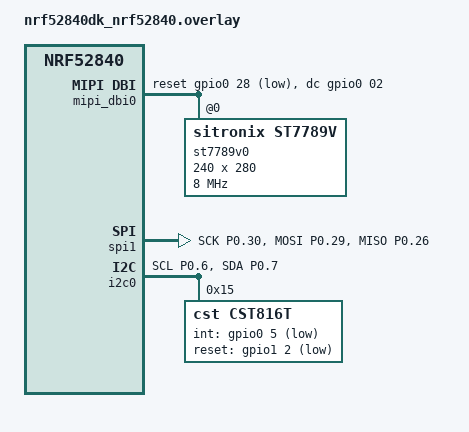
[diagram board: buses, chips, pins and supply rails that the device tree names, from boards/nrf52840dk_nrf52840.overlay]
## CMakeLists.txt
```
#
# Copyright (c) 2018 Nordic Semiconductor
#
# SPDX-License-Identifier: LicenseRef-Nordic-5-Clause
#
cmake_minimum_required(VERSION 3.20.0)

#导入外部模块
set(ZEPHYR_EXTRA_MODULES "../../common")

find_package(Zephyr REQUIRED HINTS $ENV{ZEPHYR_BASE})
project(MY_APP_PRJ)

# NORDIC SDK APP START
target_sources(app PRIVATE
  src/main.c
  src/gui.c
)

add_subdirectory(platform_nrf)
```

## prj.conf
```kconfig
#
# Copyright (c) 2018 Nordic Semiconductor
#
# SPDX-License-Identifier: LicenseRef-Nordic-5-Clause
#

# Enable the UART driver
# CONFIG_UART_ASYNC_API=y
# CONFIG_NRFX_UARTE0=y
# CONFIG_SERIAL=y

CONFIG_GPIO=y

# Make sure printk is printing to the UART console
CONFIG_CONSOLE=y
CONFIG_UART_CONSOLE=y

CONFIG_HEAP_MEM_POOL_SIZE=2048

CONFIG_BT=y
CONFIG_BT_PERIPHERAL=y
#CONFIG_BT_DEVICE_NAME="Nordic_UART_Service"
CONFIG_BT_DEVICE_NAME="lzy_test"
CONFIG_BT_MAX_CONN=1
CONFIG_BT_MAX_PAIRED=1

# Enable the NUS service
CONFIG_BT_NUS=y

# Enable bonding
CONFIG_BT_SETTINGS=y
CONFIG_FLASH=y
CONFIG_FLASH_PAGE_LAYOUT=y
CONFIG_FLASH_MAP=y

# Qingfeng 840 has no nRF52840-DK QSPI flash
CONFIG_NORDIC_QSPI_NOR=n
CONFIG_NRFX_QSPI=n

# Enable DK LED and Buttons library
CONFIG_DK_LIBRARY=y

CONFIG_SYSTEM_WORKQUEUE_STACK_SIZE=2048
# Config logger  日志输出选择RTT或者uart，RTT需要在IDE里打开RTT Viewer，UART则直接在串口工具里查看
CONFIG_LOG=y
CONFIG_USE_SEGGER_RTT=n
CONFIG_LOG_BACKEND_RTT=n
CONFIG_LOG_BACKEND_UART=y
CONFIG_LOG_PRINTK=n

CONFIG_ASSERT=y

# 基础
#CONFIG_LOG=y 上面已经开了
CONFIG_LOG_DEFAULT_LEVEL=3
# SPI + 显示
CONFIG_SPI=y
CONFIG_DISPLAY=y
CONFIG_DISPLAY_LOG_LEVEL_INF=y
CONFIG_ST7789V=y         # 启用 Zephyr 自带 ST7789 驱动
CONFIG_ST7789V_RGB565=y  # ST7789 典型 16-bit RGB565

CONFIG_DISPLAY_LOG_LEVEL_DBG=y

# I2C + 触摸
CONFIG_I2C=y

# LVGL
CONFIG_LVGL=y
CONFIG_APP_LINK_WITH_LVGL=y
CONFIG_LV_Z_AUTO_INIT=y
CONFIG_LV_Z_MEM_POOL_SIZE=16384
CONFIG_MAIN_STACK_SIZE=4096

# Minimal widgets/fonts we use
CONFIG_LV_USE_LOG=n
CONFIG_LV_USE_LABEL=y
# Keep only label for stability test
# CONFIG_LV_USE_BUTTON=y
CONFIG_LV_FONT_MONTSERRAT_14=y
```

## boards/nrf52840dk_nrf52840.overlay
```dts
&pinctrl {
    spi1_default: spi1_default {
        group1 {
            /* Qingfeng 840 P14: OSCK=P0.30, MOSI=P0.29 */
            psels = <NRF_PSEL(SPIM_SCK, 0, 30)>,
                    <NRF_PSEL(SPIM_MOSI, 0, 29)>,
                    <NRF_PSEL(SPIM_MISO, 0, 26)>;
        };
    };
    spi1_sleep: spi1_sleep {
        group1 {
            psels = <NRF_PSEL(SPIM_SCK, 0, 30)>,
                    <NRF_PSEL(SPIM_MOSI, 0, 29)>,
                    <NRF_PSEL(SPIM_MISO, 0, 26)>;
            low-power-enable;
        };
    };

    i2c0_default: i2c0_default {
        group1 {
            /* Qingfeng 840 P14: SCL=P0.06, SDA=P0.07 */
            psels = <NRF_PSEL(TWIM_SCL, 0, 6)>,
                    <NRF_PSEL(TWIM_SDA, 0, 7)>;
        };
    };

    i2c0_sleep: i2c0_sleep {
        group1 {
            psels = <NRF_PSEL(TWIM_SCL, 0, 6)>,
                    <NRF_PSEL(TWIM_SDA, 0, 7)>;
            low-power-enable;
        };
    };
};

my_spi_master: &spi1 {
    status = "okay";
    pinctrl-0 = <&spi1_default>;
    pinctrl-1 = <&spi1_sleep>;
    cs-gpios = <&gpio0 03 GPIO_ACTIVE_LOW>;
};

&gpio0 {
	status = "okay";
	// /* Qingfeng 840 uses P0.19–P0.03 for LCD; not DK QSPI — drop DK reservations */
	// /delete-property/ gpio-reserved-ranges;
};

&gpio1 {
    status = "okay";
};

/* ST7789V2 (SPI) + LVGL display binding */
#include <zephyr/dt-bindings/mipi_dbi/mipi_dbi.h>

/ {
	chosen {
		zephyr,display = &st7789v0;
	};

	mipi_dbi0: mipi_dbi_st7789v2@0 {
		compatible = "zephyr,mipi-dbi-spi";
		spi-dev = <&spi1>;
		/* Qingfeng 840 P14: DC=P0.02, RST=P0.28; keep P0.02/03 for SWD */
		dc-gpios = <&gpio0 02 GPIO_ACTIVE_HIGH>;
		reset-gpios = <&gpio0 28 GPIO_ACTIVE_LOW>;
		write-only;
		reg = <0 1>;
		status = "okay";
		#address-cells = <1>;
		#size-cells = <0>;

		st7789v0: st7789v@0 {
			compatible = "sitronix,st7789v";
			reg = <0>;
			status = "okay";
			mipi-max-frequency = <8000000>;
			width = <240>;
			height = <280>;
			x-offset = <0>;
			y-offset = <20>;
			vcom = <0x19>;
			gctrl = <0x35>;
			vrhs = <0x12>;
			vdvs = <0x20>;
			mdac = <0x00>;
			gamma = <0x01>;
			colmod = <0x05>;
			lcm = <0x2c>;
			porch-param = [0c 0c 00 33 33];
			cmd2en-param = [5a 69 02 01];
			pwctrl1-param = [a4 a1];
			pvgam-param = [D0 04 0D 11 13 2B 3F 54 4C 18 0D 0B 1F 23];
			nvgam-param = [D0 04 0C 11 13 2C 3F 44 51 2F 1F 1F 20 23];
			ram-param = [00 F0];
			rgb-param = [CD 08 14];
			mipi-mode = "MIPI_DBI_MODE_SPI_4WIRE";
			/* Datasheet: CPOL=0, CPHA=0 -> SPI mode 0 */
		};
	};
};

/* CST816T (I2C) touch controller */
&i2c0 {
	status = "okay";
	pinctrl-0 = <&i2c0_default>;
	pinctrl-1 = <&i2c0_sleep>;
	pinctrl-names = "default", "sleep";

	cst816t: cst816t@15 {
		compatible = "cst,cst816t";
		reg = <0x15>;
		int-gpios = <&gpio0 5 GPIO_ACTIVE_LOW>;    /* P0.05, P14 INT */
		reset-gpios = <&gpio1 2 GPIO_ACTIVE_LOW>; /* P1.02, TP_RST flywire */
		status = "okay";
	};
};

/* Qingfeng 840: no DK QSPI MX25R64 */
&qspi {
	status = "disabled";
};

&mx25r64 {
	status = "disabled";
};
```

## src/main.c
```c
/*
 * Copyright (c) 2018 Nordic Semiconductor ASA
 *
 * SPDX-License-Identifier: LicenseRef-Nordic-5-Clause
 */

/** @file
 *  @brief Nordic UART Bridge Service (NUS) sample
 */
#include <uart_async_adapter.h>

#include <zephyr/types.h>
#include <zephyr/kernel.h>
#include <zephyr/drivers/uart.h>
#include <zephyr/usb/usb_device.h>

#include <zephyr/device.h>
#include <zephyr/devicetree.h>
#include <soc.h>

#include <zephyr/bluetooth/bluetooth.h>
#include <zephyr/bluetooth/uuid.h>
#include <zephyr/bluetooth/gatt.h>
#include <zephyr/bluetooth/hci.h>

#include <bluetooth/services/nus.h>

#include <dk_buttons_and_leds.h>

#include <zephyr/settings/settings.h>

#include <stdio.h>
#include <string.h>

#include <zephyr/logging/log.h>

#include <lvgl.h>
#include "gui.h"

#define LOG_MODULE_NAME peripheral_uart
LOG_MODULE_REGISTER(LOG_MODULE_NAME);

#define STACKSIZE CONFIG_BT_NUS_THREAD_STACK_SIZE
#define PRIORITY 7

#define DEVICE_NAME CONFIG_BT_DEVICE_NAME
#define DEVICE_NAME_LEN	(sizeof(DEVICE_NAME) - 1)

#define RUN_STATUS_LED DK_LED1
#define RUN_LED_BLINK_INTERVAL 1000

#define CON_STATUS_LED DK_LED2

#define KEY_PASSKEY_ACCEPT DK_BTN1_MSK
#define KEY_PASSKEY_REJECT DK_BTN2_MSK

#define UART_BUF_SIZE CONFIG_BT_NUS_UART_BUFFER_SIZE
#define UART_WAIT_FOR_BUF_DELAY K_MSEC(50)
#define UART_WAIT_FOR_RX CONFIG_BT_NUS_UART_RX_WAIT_TIME

static K_SEM_DEFINE(ble_init_ok, 0, 1);

static struct bt_conn *current_conn;
static struct bt_conn *auth_conn;
static struct k_work adv_work;

// static const struct device *uart = DEVICE_DT_GET(DT_CHOSEN(nordic_nus_uart));
// static struct k_work_delayable uart_work;

struct uart_data_t {
	void *fifo_reserved;
	uint8_t data[UART_BUF_SIZE];
	uint16_t len;
};

static K_FIFO_DEFINE(fifo_uart_tx_data);
static K_FIFO_DEFINE(fifo_uart_rx_data);

static const struct bt_data ad[] = {
	BT_DATA_BYTES(BT_DATA_FLAGS, (BT_LE_AD_GENERAL | BT_LE_AD_NO_BREDR)),
	BT_DATA(BT_DATA_NAME_COMPLETE, DEVICE_NAME, DEVICE_NAME_LEN),
};

static const struct bt_data sd[] = {
	BT_DATA_BYTES(BT_DATA_UUID128_ALL, BT_UUID_NUS_VAL),
};

#ifdef CONFIG_UART_ASYNC_ADAPTER
UART_ASYNC_ADAPTER_INST_DEFINE(async_adapter);
#else
#define async_adapter NULL
#endif

// static void uart_cb(const struct device *dev, struct uart_event *evt, void *user_data)
// {
// 	ARG_UNUSED(dev);

// 	static size_t aborted_len;
// 	struct uart_data_t *buf;
// 	static uint8_t *aborted_buf;
// 	static bool disable_req;

// 	switch (evt->type) {
// 	case UART_TX_DONE:
// 		LOG_DBG("UART_TX_DONE");
// 		if ((evt->data.tx.len == 0) ||
// 		    (!evt->data.tx.buf)) {
// 			return;
// 		}

// 		if (aborted_buf) {
// 			buf = CONTAINER_OF(aborted_buf, struct uart_data_t,
// 					   data[0]);
// 			aborted_buf = NULL;
// 			aborted_len = 0;
// 		} else {
// 			buf = CONTAINER_OF(evt->data.tx.buf, struct uart_data_t,
// 					   data[0]);
// 		}

// 		k_free(buf);

// 		buf = k_fifo_get(&fifo_uart_tx_data, K_NO_WAIT);
// 		if (!buf) {
// 			return;
// 		}

// 		if (uart_tx(uart, buf->data, buf->len, SYS_FOREVER_MS)) {
// 			LOG_WRN("Failed to send data over UART");
// 		}

// 		break;

// 	case UART_RX_RDY:
// 		LOG_DBG("UART_RX_RDY");
// 		buf = CONTAINER_OF(evt->data.rx.buf, struct uart_data_t, data[0]);
// 		buf->len += evt->data.rx.len;

// 		if (disable_req) {
// 			return;
// 		}

// 		if ((evt->data.rx.buf[buf->len - 1] == '\n') ||
// 		    (evt->data.rx.buf[buf->len - 1] == '\r')) {
// 			disable_req = true;
// 			uart_rx_disable(uart);
// 		}

// 		break;

// 	case UART_RX_DISABLED:
// 		LOG_DBG("UART_RX_DISABLED");
// 		disable_req = false;

// 		buf = k_malloc(sizeof(*buf));
// 		if (buf) {
// 			buf->len = 0;
// 		} else {
// 			LOG_WRN("Not able to allocate UART receive buffer");
// 			k_work_reschedule(&uart_work, UART_WAIT_FOR_BUF_DELAY);
// 			return;
// 		}

// 		uart_rx_enable(uart, buf->data, sizeof(buf->data),
// 			       UART_WAIT_FOR_RX);

// 		break;

// 	case UART_RX_BUF_REQUEST:
// 		LOG_DBG("UART_RX_BUF_REQUEST");
// 		buf = k_malloc(sizeof(*buf));
// 		if (buf) {
// 			buf->len = 0;
// 			uart_rx_buf_rsp(uart, buf->data, sizeof(buf->data));
// 		} else {
// 			LOG_WRN("Not able to allocate UART receive buffer");
// 		}

// 		break;

// 	case UART_RX_BUF_RELEASED:
// 		LOG_DBG("UART_RX_BUF_RELEASED");
// 		buf = CONTAINER_OF(evt->data.rx_buf.buf, struct uart_data_t,
// 				   data[0]);

// 		if (buf->len > 0) {
// 			k_fifo_put(&fifo_uart_rx_data, buf);
// 		} else {
// 			k_free(buf);
// 		}

// 		break;

// 	case UART_TX_ABORTED:
// 		LOG_DBG("UART_TX_ABORTED");
// 		if (!aborted_buf) {
// 			aborted_buf = (uint8_t *)evt->data.tx.buf;
// 		}

// 		aborted_len += evt->data.tx.len;
// 		buf = CONTAINER_OF((void *)aborted_buf, struct uart_data_t,
// 				   data);

// 		uart_tx(uart, &buf->data[aborted_len],
// 			buf->len - aborted_len, SYS_FOREVER_MS);

// 		break;

// 	default:
// 		break;
// 	}
// }

// static void uart_work_handler(struct k_work *item)
// {
// 	struct uart_data_t *buf;

// 	buf = k_malloc(sizeof(*buf));
// 	if (buf) {
// 		buf->len = 0;
// 	} else {
// 		LOG_WRN("Not able to allocate UART receive buffer");
// 		k_work_reschedule(&uart_work, UART_WAIT_FOR_BUF_DELAY);
// 		return;
// 	}

// 	uart_rx_enable(uart, buf->data, sizeof(buf->data), UART_WAIT_FOR_RX);
// }

// static bool uart_test_async_api(const struct device *dev)
// {
// 	const struct uart_driver_api *api =
// 			(const struct uart_driver_api *)dev->api;

// 	return (api->callback_set != NULL);
// }

// static int uart_init(void)
// {
// 	int err;
// 	int pos;
// 	struct uart_data_t *rx;
// 	struct uart_data_t *tx;

// 	if (!device_is_ready(uart)) {
// 		return -ENODEV;
// 	}

// 	if (IS_ENABLED(CONFIG_USB_DEVICE_STACK)) {
// 		err = usb_enable(NULL);
// 		if (err && (err != -EALREADY)) {
// 			LOG_ERR("Failed to enable USB");
// 			return err;
// 		}
// 	}

// 	rx = k_malloc(sizeof(*rx));
// 	if (rx) {
// 		rx->len = 0;
// 	} else {
// 		return -ENOMEM;
// 	}

// 	// k_work_init_delayable(&uart_work, uart_work_handler);


// 	if (IS_ENABLED(CONFIG_UART_ASYNC_ADAPTER) && !uart_test_async_api(uart)) {
// 		/* Implement API adapter */
// 		uart_async_adapter_init(async_adapter, uart);
// 		uart = async_adapter;
// 	}

// 	err = uart_callback_set(uart, uart_cb, NULL);
// 	if (err) {
// 		k_free(rx);
// 		LOG_ERR("Cannot initialize UART callback");
// 		return err;
// 	}

// 	if (IS_ENABLED(CONFIG_UART_LINE_CTRL)) {
// 		LOG_INF("Wait for DTR");
// 		while (true) {
// 			uint32_t dtr = 0;

// 			uart_line_ctrl_get(uart, UART_LINE_CTRL_DTR, &dtr);
// 			if (dtr) {
// 				break;
// 			}
// 			/* Give CPU resources to low priority threads. */
// 			k_sleep(K_MSEC(100));
// 		}
// 		LOG_INF("DTR set");
// 		err = uart_line_ctrl_set(uart, UART_LINE_CTRL_DCD, 1);
// 		if (err) {
// 			LOG_WRN("Failed to set DCD, ret code %d", err);
// 		}
// 		err = uart_line_ctrl_set(uart, UART_LINE_CTRL_DSR, 1);
// 		if (err) {
// 			LOG_WRN("Failed to set DSR, ret code %d", err);
// 		}
// 	}

// 	tx = k_malloc(sizeof(*tx));

// 	if (tx) {
// 		pos = snprintf(tx->data, sizeof(tx->data),
// 			       "Starting Nordic UART service sample\r\n");

// 		if ((pos < 0) || (pos >= sizeof(tx->data))) {
// 			k_free(rx);
// 			k_free(tx);
// 			LOG_ERR("snprintf returned %d", pos);
// 			return -ENOMEM;
// 		}

// 		tx->len = pos;
// 	} else {
// 		k_free(rx);
// 		return -ENOMEM;
// 	}

// 	err = uart_tx(uart, tx->data, tx->len, SYS_FOREVER_MS);
// 	if (err) {
// 		k_free(rx);
// 		k_free(tx);
// 		LOG_ERR("Cannot display welcome message (err: %d)", err);
// 		return err;
// 	}

// 	err = uart_rx_enable(uart, rx->data, sizeof(rx->data), UART_WAIT_FOR_RX);
// 	if (err) {
// 		LOG_ERR("Cannot enable uart reception (err: %d)", err);
// 		/* Free the rx buffer only because the tx buffer will be handled in the callback */
// 		k_free(rx);
// 	}

// 	return err;
// }

static void adv_work_handler(struct k_work *work)
{
	int err = bt_le_adv_start(BT_LE_ADV_CONN_FAST_2, ad, ARRAY_SIZE(ad), sd, ARRAY_SIZE(sd));

	if (err) {
		LOG_ERR("Advertising failed to start (err %d)", err);
		return;
	}

	LOG_INF("Advertising successfully started");
}

static void advertising_start(void)
{
	k_work_submit(&adv_work);
}

static void connected(struct bt_conn *conn, uint8_t err)
{
	char addr[BT_ADDR_LE_STR_LEN];

	if (err) {
		LOG_ERR("Connection failed, err 0x%02x %s", err, bt_hci_err_to_str(err));
		return;
	}

	bt_addr_le_to_str(bt_conn_get_dst(conn), addr, sizeof(addr));
	LOG_INF("Connected %s", addr);

	current_conn = bt_conn_ref(conn);

	dk_set_led_on(CON_STATUS_LED);
}

static void disconnected(struct bt_conn *conn, uint8_t reason)
{
	char addr[BT_ADDR_LE_STR_LEN];

	bt_addr_le_to_str(bt_conn_get_dst(conn), addr, sizeof(addr));

	LOG_INF("Disconnected: %s, reason 0x%02x %s", addr, reason, bt_hci_err_to_str(reason));

	if (auth_conn) {
		bt_conn_unref(auth_conn);
		auth_conn = NULL;
	}

	if (current_conn) {
		bt_conn_unref(current_conn);
		current_conn = NULL;
		dk_set_led_off(CON_STATUS_LED);
	}
}

static void recycled_cb(void)
{
	LOG_INF("Connection object available from previous conn. Disconnect is complete!");
	advertising_start();
}

#ifdef CONFIG_BT_NUS_SECURITY_ENABLED
static void security_changed(struct bt_conn *conn, bt_security_t level,
			     enum bt_security_err err)
{
	char addr[BT_ADDR_LE_STR_LEN];

	bt_addr_le_to_str(bt_conn_get_dst(conn), addr, sizeof(addr));

	if (!err) {
		LOG_INF("Security changed: %s level %u", addr, level);
	} else {
		LOG_WRN("Security failed: %s level %u err %d %s", addr, level, err,
			bt_security_err_to_str(err));
	}
}
#endif

BT_CONN_CB_DEFINE(conn_callbacks) = {
	.connected        = connected,
	.disconnected     = disconnected,
	.recycled         = recycled_cb,
#ifdef CONFIG_BT_NUS_SECURITY_ENABLED
	.security_changed = security_changed,
#endif
};

#if defined(CONFIG_BT_NUS_SECURITY_ENABLED)
static void auth_passkey_display(struct bt_conn *conn, unsigned int passkey)
{
	char addr[BT_ADDR_LE_STR_LEN];

	bt_addr_le_to_str(bt_conn_get_dst(conn), addr, sizeof(addr));

	LOG_INF("Passkey for %s: %06u", addr, passkey);
}

static void auth_passkey_confirm(struct bt_conn *conn, unsigned int passkey)
{
	char addr[BT_ADDR_LE_STR_LEN];

	auth_conn = bt_conn_ref(conn);

	bt_addr_le_to_str(bt_conn_get_dst(conn), addr, sizeof(addr));

	LOG_INF("Passkey for %s: %06u", addr, passkey);

	if (IS_ENABLED(CONFIG_SOC_SERIES_NRF54HX) || IS_ENABLED(CONFIG_SOC_SERIES_NRF54LX)) {
		LOG_INF("Press Button 0 to confirm, Button 1 to reject.");
	} else {
		LOG_INF("Press Button 1 to confirm, Button 2 to reject.");
	}
}


static void auth_cancel(struct bt_conn *conn)
{
	char addr[BT_ADDR_LE_STR_LEN];

	bt_addr_le_to_str(bt_conn_get_dst(conn), addr, sizeof(addr));

	LOG_INF("Pairing cancelled: %s", addr);
}


static void pairing_complete(struct bt_conn *conn, bool bonded)
{
	char addr[BT_ADDR_LE_STR_LEN];

	bt_addr_le_to_str(bt_conn_get_dst(conn), addr, sizeof(addr));

	LOG_INF("Pairing completed: %s, bonded: %d", addr, bonded);
}


static void pairing_failed(struct bt_conn *conn, enum bt_security_err reason)
{
	char addr[BT_ADDR_LE_STR_LEN];

	bt_addr_le_to_str(bt_conn_get_dst(conn), addr, sizeof(addr));

	LOG_INF("Pairing failed conn: %s, reason %d %s", addr, reason,
		bt_security_err_to_str(reason));
}

static struct bt_conn_auth_cb conn_auth_callbacks = {
	.passkey_display = auth_passkey_display,
	.passkey_confirm = auth_passkey_confirm,
	.cancel = auth_cancel,
};

static struct bt_conn_auth_info_cb conn_auth_info_callbacks = {
	.pairing_complete = pairing_complete,
	.pairing_failed = pairing_failed
};
#else
static struct bt_conn_auth_cb conn_auth_callbacks;
static struct bt_conn_auth_info_cb conn_auth_info_callbacks;
#endif

// static void bt_receive_cb(struct bt_conn *conn, const uint8_t *const data,
// 			  uint16_t len)
// {
// 	int err;
// 	char addr[BT_ADDR_LE_STR_LEN] = {0};

// 	bt_addr_le_to_str(bt_conn_get_dst(conn), addr, ARRAY_SIZE(addr));

// 	LOG_INF("Received data from: %s", addr);

// 	for (uint16_t pos = 0; pos != len;) {
// 		struct uart_data_t *tx = k_malloc(sizeof(*tx));

// 		if (!tx) {
// 			LOG_WRN("Not able to allocate UART send data buffer");
// 			return;
// 		}

// 		/* Keep the last byte of TX buffer for potential LF char. */
// 		size_t tx_data_size = sizeof(tx->data) - 1;

// 		if ((len - pos) > tx_data_size) {
// 			tx->len = tx_data_size;
// 		} else {
// 			tx->len = (len - pos);
// 		}

// 		memcpy(tx->data, &data[pos], tx->len);

// 		pos += tx->len;

// 		/* Append the LF character when the CR character triggered
// 		 * transmission from the peer.
// 		 */
// 		if ((pos == len) && (data[len - 1] == '\r')) {
// 			tx->data[tx->len] = '\n';
// 			tx->len++;
// 		}

// 		err = uart_tx(uart, tx->data, tx->len, SYS_FOREVER_MS);
// 		if (err) {
// 			k_fifo_put(&fifo_uart_tx_data, tx);
// 		}
// 	}
// }

// static struct bt_nus_cb nus_cb = {
// 	.received = bt_receive_cb,
// };

void error(void)
{
	dk_set_leds_state(DK_ALL_LEDS_MSK, DK_NO_LEDS_MSK);

	while (true) {
		/* Spin for ever */
		k_sleep(K_MSEC(1000));
	}
}

#ifdef CONFIG_BT_NUS_SECURITY_ENABLED
static void num_comp_reply(bool accept)
{
	if (accept) {
		bt_conn_auth_passkey_confirm(auth_conn);
		LOG_INF("Numeric Match, conn %p", (void *)auth_conn);
	} else {
		bt_conn_auth_cancel(auth_conn);
		LOG_INF("Numeric Reject, conn %p", (void *)auth_conn);
	}

	bt_conn_unref(auth_conn);
	auth_conn = NULL;
}

void button_changed(uint32_t button_state, uint32_t has_changed)
{
	uint32_t buttons = button_state & has_changed;

	if (auth_conn) {
		if (buttons & KEY_PASSKEY_ACCEPT) {
			num_comp_reply(true);
		}

		if (buttons & KEY_PASSKEY_REJECT) {
			num_comp_reply(false);
		}
	}
}
#endif /* CONFIG_BT_NUS_SECURITY_ENABLED */

// static void configure_gpio(void)
// {
// 	int err;

// #ifdef CONFIG_BT_NUS_SECURITY_ENABLED
// 	err = dk_buttons_init(button_changed);
// 	if (err) {
// 		LOG_ERR("Cannot init buttons (err: %d)", err);
// 	}
// #endif /* CONFIG_BT_NUS_SECURITY_ENABLED */

// 	err = dk_leds_init();
// 	if (err) {
// 		LOG_ERR("Cannot init LEDs (err: %d)", err);
// 	}
// }

int main(void)
{
	int blink_status = 0;
	int err = 0;


	// configure_gpio();

	// err = uart_init();
	// if (err) {
	// 	error();
	// }
	if (IS_ENABLED(CONFIG_BT_NUS_SECURITY_ENABLED)) {
		err = bt_conn_auth_cb_register(&conn_auth_callbacks);
		if (err) {
			LOG_ERR("Failed to register authorization callbacks. (err: %d)", err);
			return 0;
		}

		err = bt_conn_auth_info_cb_register(&conn_auth_info_callbacks);
		if (err) {
			LOG_ERR("Failed to register authorization info callbacks. (err: %d)", err);
			return 0;
		}
	}

	err = bt_enable(NULL);
	if (err) {
		error();
	}

	LOG_INF("Bluetooth initialized");

	k_sem_give(&ble_init_ok);

	if (IS_ENABLED(CONFIG_SETTINGS)) {
		settings_load();
	}

	// err = bt_nus_init(&nus_cb);
	// if (err) {
	// 	LOG_ERR("Failed to initialize UART service (err: %d)", err);
	// 	return 0;
	// }

	k_work_init(&adv_work, adv_work_handler);
	LOG_INF("ble name is %s", DEVICE_NAME);
	advertising_start();
	//k_sleep(K_MSEC(2000));
	gui_init();

	for (;;) {
		// dk_set_led(RUN_STATUS_LED, (++blink_status) % 2);
		//lv_timer_handler();
		k_sleep(K_MSEC(10));
	}
}

// void ble_write_thread(void)
// {
// 	/* Don't go any further until BLE is initialized */
// 	k_sem_take(&ble_init_ok, K_FOREVER);
// 	struct uart_data_t nus_data = {
// 		.len = 0,
// 	};
	
// 	for (;;) {
// 		/* Wait indefinitely for data to be sent over bluetooth */
// 		struct uart_data_t *buf = k_fifo_get(&fifo_uart_rx_data,
// 						     K_FOREVER);

// 		int plen = MIN(sizeof(nus_data.data) - nus_data.len, buf->len);
// 		int loc = 0;

// 		while (plen > 0) {
// 			memcpy(&nus_data.data[nus_data.len], &buf->data[loc], plen);
// 			nus_data.len += plen;
// 			loc += plen;

// 			if (nus_data.len >= sizeof(nus_data.data) ||
// 			   (nus_data.data[nus_data.len - 1] == '\n') ||
// 			   (nus_data.data[nus_data.len - 1] == '\r')) {
// 				if (bt_nus_send(NULL, nus_data.data, nus_data.len)) {
// 					LOG_WRN("Failed to send data over BLE connection");
// 				}
// 				nus_data.len = 0;
// 			}

// 			plen = MIN(sizeof(nus_data.data), buf->len - loc);
// 		}

// 		k_free(buf);
// 	}
// }

// K_THREAD_DEFINE(ble_write_thread_id, STACKSIZE, ble_write_thread, NULL, NULL,
// 		NULL, PRIORITY, 0, 0);
```

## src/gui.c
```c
#include <zephyr/device.h>
#include <zephyr/drivers/i2c.h>
#include <zephyr/drivers/gpio.h>
#include <zephyr/drivers/display.h>
#include <zephyr/devicetree.h>
#include <zephyr/kernel.h>
#include <zephyr/logging/log.h>

#include <lvgl.h>
#include "gui.h"

LOG_MODULE_REGISTER(gui, LOG_LEVEL_INF);

/* Touch (CST816T) is currently not wired into LVGL input to keep this bring-up stable.
 * We'll add it after the display is proven working.
 */

static void ui_create(void)
{
	lv_obj_t *label = lv_label_create(lv_scr_act());
	lv_label_set_text(label, "Hello ST7789V2 + LVGL");
	lv_obj_center(label);
}

static void display_smoke_test(const struct device *display_dev)
{
	struct display_capabilities caps;
	display_get_capabilities(display_dev, &caps);
	LOG_INF("display caps: %ux%u pixel_format=%d", caps.x_resolution, caps.y_resolution,
		caps.current_pixel_format);

	/* ST7789V2 typically uses RGB565 in this project. */
	if (caps.current_pixel_format != PIXEL_FORMAT_RGB_565 &&
	    caps.current_pixel_format != PIXEL_FORMAT_BGR_565) {
		LOG_WRN("display_smoke_test: unsupported pixel format for RGB565 test");
		return;
	}
	LOG_INF("display pixel format: %s",
		(caps.current_pixel_format == PIXEL_FORMAT_RGB_565) ? "RGB565" : "BGR565");

	/* Now uses RGB565_GREEN from gui.h (already byte-swapped for wire order). */
	const uint16_t test_color = RGB565_YELLOW;
	static uint16_t buf[60 * 60];
	for (size_t i = 0; i < ARRAY_SIZE(buf); i++) {
		buf[i] = test_color;
	}

	int ret = display_set_pixel_format(display_dev, caps.current_pixel_format);
	LOG_INF("display_set_pixel_format ret=%d", ret);

	struct display_buffer_descriptor desc = {
		.buf_size = sizeof(buf),
		.width = 60,
		.height = 60,
		.pitch = 60,
		.frame_incomplete = false,
	};

	/* Draw multiple corners + center to catch x/y-offset or margin mistakes. */
	const uint16_t xs[] = {0, (caps.x_resolution > desc.width) ? (caps.x_resolution - desc.width) : 0};
	const uint16_t ys[] = {0, (caps.y_resolution > desc.height) ? (caps.y_resolution - desc.height) : 0};
	for (size_t yi = 0; yi < ARRAY_SIZE(ys); yi++) {
		for (size_t xi = 0; xi < ARRAY_SIZE(xs); xi++) {
			ret = display_write(display_dev, xs[xi], ys[yi], &desc, buf);
			LOG_INF("display_write(%u,%u) ret=%d", xs[xi], ys[yi], ret);
		}
	}

	/* Center patch as well. */
	ret = display_write(display_dev, (caps.x_resolution - desc.width) / 2,
			     (caps.y_resolution - desc.height) / 2, &desc, buf);
	LOG_INF("display_write(center) ret=%d", ret);
}


static void display_color_bars(const struct device *display_dev)
{
	struct display_capabilities caps;
	display_get_capabilities(display_dev, &caps);
	uint16_t w = caps.x_resolution;
	uint16_t h = caps.y_resolution;

	static const uint16_t colors[] = {
		RGB565_RED,
		RGB565_GREEN,
		RGB565_BLUE,
		RGB565_YELLOW,
		RGB565_CYAN,
		RGB565_MAGENTA,
		RGB565_WHITE,
		RGB565_GRAY,
		RGB565_BLACK,
	};

	uint16_t bar_h = h / 9;
	uint16_t extra = h - bar_h * 9;
	uint16_t buf[240];
	uint16_t y = 0;

	struct display_buffer_descriptor desc = {
		.buf_size = sizeof(buf),
		.width = w,
		.height = 1,
		.pitch = w,
		.frame_incomplete = false,
	};

	for (size_t b = 0; b < 9; b++) {
		for (size_t i = 0; i < w; i++) {
			buf[i] = colors[b];
		}
		uint16_t rows = bar_h + (b == 8 ? extra : 0);
		for (uint16_t r = 0; r < rows; r++) {
			display_write(display_dev, 0, y++, &desc, buf);
		}
	}

	LOG_INF("color bars done (%u rows)", y);
}

static void display_clear(const struct device *display_dev, uint16_t color)
{
	struct display_capabilities caps;
	display_get_capabilities(display_dev, &caps);

	uint16_t buf[240];
	for (size_t i = 0; i < ARRAY_SIZE(buf); i++) {
		buf[i] = color;
	}

	struct display_buffer_descriptor desc = {
		.buf_size = sizeof(buf),
		.width = caps.x_resolution,
		.height = 1,
		.pitch = caps.x_resolution,
		.frame_incomplete = false,
	};

	for (uint16_t y = 0; y < caps.y_resolution; y++) {
		display_write(display_dev, 0, y, &desc, buf);
	}
}

void gui_init(void)
{
	const struct device *display_dev = DEVICE_DT_GET(DT_CHOSEN(zephyr_display));
	if (!device_is_ready(display_dev)) {
		LOG_ERR("Display device not ready");
		return;
	}

	LOG_INF("gui_init: display ready");
	ui_create();
	LOG_INF("gui_init: ui created");

	/* Backlight: P1.03 (avoid P0.04 photo sensor on Qingfeng 840 base) */
	{
		int ret;
		const struct device *gpio1 = DEVICE_DT_GET(DT_NODELABEL(gpio1));

		if (device_is_ready(gpio1)) {
			ret = gpio_pin_configure(gpio1, 3, GPIO_OUTPUT_ACTIVE);
			if (ret != 0) {
				LOG_ERR("BL gpio_pin_configure failed: %d", ret);
			} else {
				LOG_INF("BL gpio_pin_configure OK");
			}
			ret = gpio_pin_set(gpio1, 3, 1);
			LOG_INF("BL gpio_pin_set(3,1) ret=%d", ret);
		} else {
			LOG_WRN("gpio1 not ready, cannot enable BL");
		}
	}

	/* Unblank panel so the first flush becomes visible */
	{
		int ret = display_blanking_off(display_dev);
		LOG_INF("display_blanking_off ret=%d", ret);
	}

	display_clear(display_dev, 0xFFFF);
	display_smoke_test(display_dev);
	k_sleep(K_MSEC(2000));
	display_color_bars(display_dev);

	LOG_INF("GUI initialized");
}
```

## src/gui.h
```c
#pragma once

#include <zephyr/sys/byteorder.h>

/*
 * MIPI DBI SPI driver ignores pixfmt and sends memory contents
 * byte-by-byte.  On little-endian nRF52, 16-bit pixels are stored
 * [low_byte, high_byte]; SPI sends low byte first, but ST7789V
 * expects high byte first (big-endian on the wire).
 *
 * Therefore each pixel value must be byte-swapped before being
 * written to the display.  The macros below do that automatically.
 */

/** Build a byte-swapped RGB565 pixel (r,g,b each 0..255). */
#define RGB565_BE(r, g, b) \
	sys_cpu_to_be16((uint16_t)(((r) >> 3) << 11) | \
			 (uint16_t)(((g) >> 2) << 5)  | \
			 (uint16_t)((b) >> 3))

/* Pre-computed convenience colours (already in wire order). */
#define RGB565_BLACK   0x0000
#define RGB565_WHITE   0xFFFF
#define RGB565_RED     0x00F8   /* sys_cpu_to_be16(0xF800) */
#define RGB565_GREEN   0xE007   /* sys_cpu_to_be16(0x07E0) */
#define RGB565_BLUE    0x1F00   /* sys_cpu_to_be16(0x001F) */
#define RGB565_YELLOW  0xE0FF   /* sys_cpu_to_be16(0xFFE0) */
#define RGB565_CYAN    0xFF07   /* sys_cpu_to_be16(0x07FF) */
#define RGB565_MAGENTA 0x1FF8   /* sys_cpu_to_be16(0xF81F) */
#define RGB565_GRAY    0x1084   /* sys_cpu_to_be16(0x8410) */

void gui_init(void);
```
